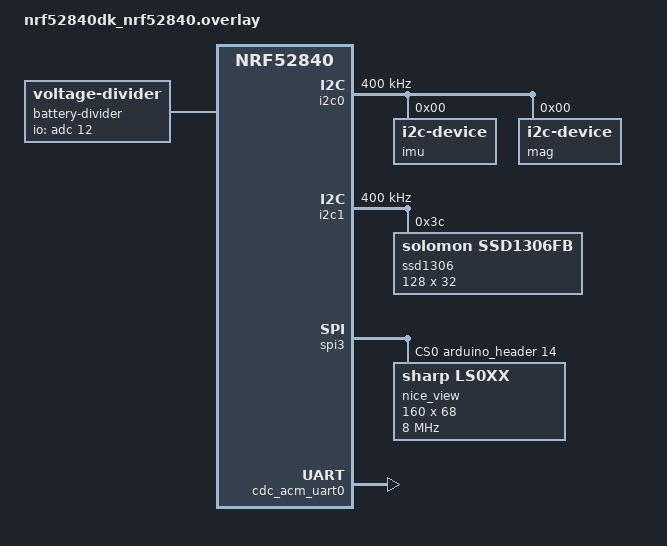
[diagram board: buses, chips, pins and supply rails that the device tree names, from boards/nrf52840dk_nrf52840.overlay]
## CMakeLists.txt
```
#
# Copyright (c) 2023 Nordic Semiconductor
#
# SPDX-License-Identifier: LicenseRef-Nordic-5-Clause
#
cmake_minimum_required(VERSION 3.20.0)

# Configure VERSION from repository branch and tag
find_package(Git)

if(GIT_EXECUTABLE)
  execute_process(
    COMMAND ${GIT_EXECUTABLE} branch --show-current
    WORKING_DIRECTORY ${CMAKE_SOURCE_DIR}
    OUTPUT_VARIABLE GIT_BRANCH
    )
  execute_process(
    COMMAND ${GIT_EXECUTABLE} describe --dirty --tags --long --match [0-9]*.[0-9]*.[0-9]*
    WORKING_DIRECTORY ${CMAKE_SOURCE_DIR}
    OUTPUT_VARIABLE GIT_VERSION
    )
endif()

if(GIT_BRANCH STREQUAL "")
  set(GIT_BRANCH unknown)
  message(WARNING "Unknown Git Branch")
endif()

if(GIT_VERSION STREQUAL "")
  set(GIT_VERSION 0.0.0-0)
  message(WARNING "Unknown Tag/Version")
endif()

string(STRIP ${GIT_BRANCH} GIT_BRANCH)
string(STRIP ${GIT_VERSION} GIT_VERSION)
string(REPLACE "-" ";" GIT_VERSION ${GIT_VERSION})
list(GET GIT_VERSION 0 GIT_RELEASE)
list(GET GIT_VERSION 1 GIT_TWEAK)
string(REPLACE "v" "" GIT_RELEASE ${GIT_RELEASE})
string(REPLACE "." ";" GIT_RELEASE ${GIT_RELEASE})
list(GET GIT_RELEASE 0 GIT_MAJOR)
list(GET GIT_RELEASE 1 GIT_MINOR)
list(GET GIT_RELEASE 2 GIT_PATCH)

configure_file(${CMAKE_SOURCE_DIR}/VERSION_SRC ${CMAKE_SOURCE_DIR}/VERSION @ONLY)

# Zephyr
find_package(Zephyr REQUIRED HINTS $ENV{ZEPHYR_BASE})
project(NONE)

# NORDIC SDK APP START
FILE(GLOB_RECURSE app_sources src/*.c)
target_sources(app PRIVATE ${app_sources})

# NORDIC SDK APP END

FILE(GLOB_RECURSE files vqf-c/src/*.c)
target_sources(app PRIVATE ${files})

target_include_directories(app PRIVATE src)
target_include_directories(app PRIVATE vqf-c/src)

# Force recompile for updated build timestamp
add_custom_target(touch_util_h ALL
    COMMAND ${CMAKE_COMMAND} -E touch ${CMAKE_SOURCE_DIR}/src/build_defines.h
)

# clangd wants compile_commands.json in the root of build directory
# try to find the build root clangd will be happy with
cmake_path(GET CMAKE_CURRENT_BINARY_DIR PARENT_PATH build_dir)
cmake_path(COMPARE ${CMAKE_CURRENT_LIST_DIR} NOT_EQUAL ${build_dir} build_dir_is_subdirectory)

if(build_dir_is_subdirectory)
  add_custom_target(link_target ALL
    COMMAND ${CMAKE_COMMAND} -E create_symlink ${CMAKE_CURRENT_BINARY_DIR}/compile_commands.json ${build_dir}/compile_commands.json)
endif()
```

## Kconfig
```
#
# Copyright (c) 2023 Nordic Semiconductor
#
# SPDX-License-Identifier: LicenseRef-Nordic-5-Clause
#

config USE_SLIMENRF_CONSOLE
    bool "Use basic console"
    default y
    help
        Use basic console for commands.

config BATTERY_CHARGER_HAS_NTC
    bool "Battery thermistor"
    help
      Flag for battery NTC thermistor availability.

choice
    prompt "Battery voltage mapping"
    default BATTERY_NO_MAPPING

config BATTERY_USE_REG_BUCK_MAPPING
    bool "Use buck regulator mapping (3.7V battery, DCDC)"
    help
      Use a constant power mapping for battery voltage.
      Preffered for systems with a buck regulator.
      Measured at a system voltage of 3.0V.

config BATTERY_USE_REG_LDO_MAPPING
    bool "Use LDO linear regulator mapping (3.7V battery, LDO)"
    help
      Use a constant current mapping for battery voltage.
      Preferred for systems with a linear regulator.

config BATTERY_NO_MAPPING
    bool "Disable battery voltage mapping"
    help
      Always map to 100% battery. Disables battery monitoring.

endchoice

config BATTERY_LOW_RUNTIME_THRESHOLD
    int "Low battery runtime threshold (ms)"
    default 10800000
    help
      Trigger low battery when estimated runtime falls below threshold.
      If estimated runtime is not available, low battery will trigger under 10% estimated state of charge.

choice
    prompt "Status LED color mapping"
    default LED_TRI_COLOR

config LED_RGB_COLOR
    bool "Use RGB color mapping"
    help
        Use RGB or RG color mapping for LED status if available.

config LED_TRI_COLOR
    bool "Use default color mapping"
    help
        Use the default color mapping for LED status.

endchoice

menu "Status LED default status color"
    depends on LED_RGB_COLOR

config LED_DEFAULT_COLOR_R
    int "Red value"
    range 0 10000
    default 4000
    depends on LED_RGB_COLOR
    help
        Red color for default status.
        Valid range is 0 to 10000.

config LED_DEFAULT_COLOR_G
    int "Green value"
    range 0 10000
    default 6000
    depends on LED_RGB_COLOR
    help
        Green color for default status.
        Valid range is 0 to 10000.

config LED_DEFAULT_COLOR_B
    int "Blue value"
    range 0 10000
    default 0
    depends on LED_RGB_COLOR
    help
        Blue color for default status.
        Valid range is 0 to 10000.

endmenu

config USER_EXTRA_ACTIONS
    bool "Multiple press actions"
    help
        Allow user to use multiple presses to calibrate, pair, or enter DFU.
        By default, pairing is available when holding down sw0 for 5 seconds.
        By default, DFU is available when holding down sw0 and plugging in a USB cable.

config IGNORE_RESET
    bool "Ignore reset"
    default y
    help
        If sw0 is available, don't perform any extra actions on reset.

config USER_SHUTDOWN
    bool "User shutdown support"
    default y
    help
        Allow user to use reset or sw0 to shutdown.

config USE_IMU_WAKE_UP
    bool "IMU wake up support"
    default y
    help
        Use IMU wake up state if IMU wake up is present.

config DELAY_SLEEP_ON_STATUS
    bool "Delay IMU wake up mode on status flags"
    default y
    depends on USE_IMU_WAKE_UP
    help
        Delay IMU wake up state if there is an active status flag or in pairing mode.

config WOM_USE_DCDC
    bool "Use DCDC in IMU wake up mode"
    depends on USE_IMU_WAKE_UP
    help
        Use DCDC instead of LDO in IMU wake up state if it is more efficient.

config CONNECTION_TIMEOUT_DELAY
    int "Connection timeout delay (ms)"
    default 600000
    depends on USER_SHUTDOWN
    help
        Connection timeout duration when receiver is not detected.

choice
    prompt "Sensor rotation"
    default SENSOR_ROTATION_90

config SENSOR_ROTATION_0
    bool "0 degrees"

config SENSOR_ROTATION_90
    bool "90 degrees"

config SENSOR_ROTATION_180
    bool "180 degrees"

config SENSOR_ROTATION_270
    bool "270 degrees"

config SENSOR_ROTATION_0_FLIPPED
    bool "0 degrees flipped"

config SENSOR_ROTATION_90_FLIPPED
    bool "90 degrees flipped"

config SENSOR_ROTATION_180_FLIPPED
    bool "180 degrees flipped"

config SENSOR_ROTATION_270_FLIPPED
    bool "270 degrees flipped"

endchoice

menu "Sensor power saving"

config SENSOR_LP_TIMEOUT
    int "Sensor low power delay (ms)"
    default 500
    help
        Low power timeout during no motion.

config SENSOR_USE_LOW_POWER_2
    bool "Use additional low power modes"
    help
        Use a higher latency sensor mode during no motion.

config USE_IMU_TIMEOUT
    bool "Use IMU wake up state"
    default y
    depends on USE_IMU_WAKE_UP
    help
        Use IMU wake up state during no motion.

config IMU_TIMEOUT_RAMP_MIN
    int "Sensor timeout minimum delay (ms)"
    default 5000
    depends on USE_IMU_TIMEOUT || SENSOR_USE_LOW_POWER_2
    help
        Minimum timeout during no motion. Initial period on wake up.

config IMU_TIMEOUT_RAMP_MAX
    int "Sensor timeout maximum delay (ms)"
    default 15000
    depends on USE_IMU_TIMEOUT || SENSOR_USE_LOW_POWER_2
    help
        Maximum timeout during no motion.

config USE_ACTIVE_TIMEOUT
    bool "Use activity timeout"
    default y
    depends on USE_IMU_WAKE_UP || USER_SHUTDOWN
    help
        Delay IMU wake up state or user shutdown during activity.

choice
    prompt "Activity timeout mode"
    default SLEEP_ON_ACTIVE_TIMEOUT
    depends on USE_ACTIVE_TIMEOUT

config SLEEP_ON_ACTIVE_TIMEOUT
    bool "IMU wake up"
    depends on USE_IMU_WAKE_UP
    help
        Use IMU wake up state when activity timeout elapses.

config SHUTDOWN_ON_ACTIVE_TIMEOUT
    bool "User shutdown"
    depends on USER_SHUTDOWN
    help
        Use user shutdown when activity timeout elapses.

endchoice

config ACTIVE_TIMEOUT_THRESHOLD
    int "Activity timeout threshold (ms)"
    default 15000
    depends on USE_ACTIVE_TIMEOUT
    help
        Trigger activity timeout after a certain threshold of activity.

config ACTIVE_TIMEOUT_DELAY
    int "Activity timeout delay (ms)"
    default 900000
    depends on USE_ACTIVE_TIMEOUT
    help
        Activity timeout duration when triggered.

endmenu

config SENSOR_ACCEL_ODR
    int "Accelerometer output data rate (Hz)"
    default 100
    help
        Requested accelerometer output data rate. Actual rate will be raised to the nearest supported rate.
        A higher rate will increase the time to read and process sensor data.

config SENSOR_GYRO_ODR
    int "Gyrometer output data rate (Hz)"
    default 200
    help
        Requested gyrometer output data rate. Actual rate will be raised to the nearest supported rate.
        A higher rate will increase the time to read and process sensor data.
        A lower rate is recommended for IMUs with poor gyrometer rate noise density. (e.g. BMI270, LSM6DS3TR-C)

config SENSOR_ACCEL_FS
    int "Accelerometer full scale (g)"
    default 4
    help
        Requested accelerometer full scale. Actual scale will be raised to the nearest supported scale.
        A lower scale may improve noise performance, but is more likely to saturate.

config SENSOR_GYRO_FS
    int "Gyrometer full scale (dps)"
    default 1000
    help
        Requested gyrometer full scale. Actual scale will be raised to the nearest supported scale.
        A lower scale may improve noise performance, but is more likely to saturate.

config SENSOR_USE_MAG
    bool "Magnetometer support"
    default y
    help
        Use magnetometer if it is present.

config USE_SENSOR_CLOCK
    bool "Use external IMU clock"
    default y
    help
        Use external IMU clock if it is present.

choice
    prompt "Sensor fusion"
    default SENSOR_USE_VQF
    help
        Select the sensor fusion method.

config SENSOR_USE_VQF
    bool "Use VQF"
    help
        Use VQF for sensor fusion.
        Based on Kalman filter.

endchoice

config SENSOR_USE_6_SIDE_CALIBRATION
    bool "Use 6-side calibration"
    default y
    depends on USE_SLIMENRF_CONSOLE
    help
        Use 6-side calibration for accelerometer.
        Calibration can be completed through the basic console.

config RADIO_TX_POWER
    int "Radio output power (dBm)"
    default 8
    help
        Radio output power level.
        A lower value may reduce power consumption.

config CONNECTION_OVER_HID
    bool "Use HID for data output"
    help
        Use HID if available.
        Otherwise, use ESB only.

choice CLOCK_SOURCE_LFCLK
    prompt "LF clock source for TDMA"
    default CLOCK_SOURCE_LFCLK_FULL_SWING
    help
        Chose which crystal or oscillator is connected
        to XL1/XL2 pins, if any. External 32.768kHz crystal
        or oscillator is recommended.

config CLOCK_SOURCE_LFCLK_XTAL
    bool "External passive crystal"

config CLOCK_SOURCE_LFCLK_LOW_SWING
    bool "External low-swing oscillator"

config CLOCK_SOURCE_LFCLK_FULL_SWING
    bool "External full-swing oscillator"

config CLOCK_SOURCE_LFCLK_SYNTH
    bool "Synthesized from internal HF clock (high power consumption)"

config CLOCK_SOURCE_LFCLK_RC
    bool "Internal RC clock (bad performance)"

endchoice

config BTF_DUT
    bool "Test mode for certification"

source "Kconfig.zephyr"
```

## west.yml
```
manifest:
  version: "1.2"
  projects:

    # nRF-Connect SDK
    - name: sdk-nrf
      path: nrf
      url: https://github.com/SlimeVR/sdk-nrf.git
      revision: v3.1-slimevr
      import: true
```

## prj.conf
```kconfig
#CONFIG_NCS_SAMPLES_DEFAULTS
CONFIG_ASSERT=y
CONFIG_ASSERT_NO_COND_INFO=y
CONFIG_ASSERT_NO_MSG_INFO=y
CONFIG_RESET_ON_FATAL_ERROR=y

CONFIG_NCS_APPLICATION_BOOT_BANNER_STRING="SlimeVR-Tracker-nRF"
#CONFIG_NCS_BOOT_BANNER=n
CONFIG_BOOT_BANNER=n

CONFIG_ESB=y
#need to enable for nRF54L
#CONFIG_NRFX_DPPI10=y

CONFIG_ADC=y
CONFIG_ADC_NRFX_SAADC=y
CONFIG_FPU=y
CONFIG_I2C=y
CONFIG_SPI=y
CONFIG_PINCTRL=y
CONFIG_SENSOR=y
CONFIG_ESB=y

CONFIG_CMSIS_DSP=y
CONFIG_CMSIS_DSP_BASICMATH=y
CONFIG_CMSIS_DSP_CONTROLLER=y
CONFIG_CMSIS_DSP_FASTMATH=y
CONFIG_CMSIS_DSP_SUPPORT=y

CONFIG_NVS=y
CONFIG_NVS_LOOKUP_CACHE=y
CONFIG_NVS_INIT_BAD_MEMORY_REGION=y

CONFIG_POWEROFF=y
CONFIG_REBOOT=y

CONFIG_FLASH=y
CONFIG_FLASH_PAGE_LAYOUT=y
CONFIG_FLASH_MAP=y

CONFIG_SETTINGS=y
CONFIG_SETTINGS_RUNTIME=y
CONFIG_SETTINGS_NONE=y

CONFIG_MPU_ALLOW_FLASH_WRITE=y

CONFIG_RETAINED_MEM=y

CONFIG_USE_SEGGER_RTT=y
CONFIG_LOG=y
#CONFIG_PRINTK=y
CONFIG_LOG_MODE_DEFERRED=y
CONFIG_LOG_SPEED=y
CONFIG_LOG_BACKEND_RTT=y
CONFIG_CBPRINTF_FP_SUPPORT=y
CONFIG_ADC_LOG_LEVEL_OFF=y
CONFIG_LOG_FUNC_NAME_PREFIX_ERR=y
CONFIG_LOG_BUFFER_SIZE=1536
CONFIG_LOG_BACKEND_UART_AUTOSTART=n
CONFIG_LOG_PROCESS_THREAD_SLEEP_MS=50
CONFIG_LOG_PROCESS_THREAD_STACK_SIZE=1024

CONFIG_PWM=y
CONFIG_GPIO=y

CONFIG_CRC=y

CONFIG_NEWLIB_LIBC=y
#deprecated?
#CONFIG_NRFX_TIMER1=y

# Use uncalibrated RC clock on boot, will switch to external oscillator in the app after boot
CONFIG_CLOCK_CONTROL_NRF_K32SRC_RC=y
CONFIG_CLOCK_CONTROL_NRF_K32SRC_RC_CALIBRATION=n
CONFIG_CLOCK_CONTROL_NRF_K32SRC_SYNTH=n

# dont need it
CONFIG_CRYPTO=n

# set timeout for 25ms, sufficient for ~1000 bytes
CONFIG_I2C_NRFX_TRANSFER_TIMEOUT=25

CONFIG_USB_DEVICE_HID=y
CONFIG_USB_DEVICE_VID=0x1209
CONFIG_USB_DEVICE_PID=0x7692
CONFIG_USB_HID_BOOT_PROTOCOL=y
CONFIG_USB_DEVICE_INITIALIZE_AT_BOOT=n
CONFIG_USB_CDC_ACM=y
CONFIG_UART_INTERRUPT_DRIVEN=y
CONFIG_USB_WORKQUEUE_STACK_SIZE=512

CONFIG_SERIAL=y
CONFIG_CONSOLE=y
CONFIG_RTT_CONSOLE=y
CONFIG_UART_CONSOLE=y
CONFIG_UART_LINE_CTRL=y
# fit "write all <base64:173>"
CONFIG_CONSOLE_INPUT_MAX_LINE_LEN=256

CONFIG_LOG=y
CONFIG_USB_DRIVER_LOG_LEVEL_ERR=y
CONFIG_USB_DEVICE_LOG_LEVEL_ERR=y
CONFIG_USB_CDC_ACM_LOG_LEVEL_OFF=y

CONFIG_LOG_BACKEND_UART=y

CONFIG_CONSOLE_SUBSYS=y
CONFIG_CONSOLE_GETLINE=y

CONFIG_NVS_LOG_LEVEL_WRN=y
CONFIG_USB_HID_LOG_LEVEL_WRN=y

CONFIG_USB_DEVICE_SOF=y
CONFIG_USB_HID_REPORTS=256

#CONFIG_USB_HID_POLL_INTERVAL_MS=1
CONFIG_USB_HID_POLL_INTERVAL_MS=0
CONFIG_HID_INTERRUPT_EP_MPS=64
#CONFIG_ENABLE_HID_INT_OUT_EP=y

CONFIG_SYSTEM_WORKQUEUE_STACK_SIZE=256
CONFIG_MAIN_STACK_SIZE=512
#crashing on nrf54l at 512

CONFIG_THREAD_NAME=y

CONFIG_HEAP_MEM_POOL_SIZE=2048
CONFIG_ISR_STACK_SIZE=1024

CONFIG_PM_DEVICE=y

CONFIG_BASE64=y

#CONFIG_THREAD_ANALYZER=y
#CONFIG_THREAD_ANALYZER_AUTO=y
#CONFIG_THREAD_ANALYZER_AUTO_INTERVAL=5

#about 20KB saved
#CONFIG_LTO=y
#CONFIG_ISR_TABLES_LOCAL_DECLARATION=y

#CONFIG_USE_IMU_TIMEOUT=n
```

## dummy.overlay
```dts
// dummy flash partitions for mcuboot compilation
&flash0 {
	partitions {
		compatible = "fixed-partitions";
		#address-cells = <1>;
		#size-cells = <1>;

		slot0_partition: partition@0 {
			reg = <0 1>;
		};
	};
};
```

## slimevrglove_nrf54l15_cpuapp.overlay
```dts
/* For more help, browse the devicetree documentation at https://docs.zephyrproject.org/latest/build/dts/index.html
 * You can also visit the nRF DeviceTree extension documentation at https://docs.nordicsemi.com/bundle/nrf-connect-vscode/page/guides/ncs_configure_app.html#devicetree-support-in-the-extension
 */
```

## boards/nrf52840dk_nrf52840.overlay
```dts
&pwm0_default {
	group1 {
		psels = <NRF_PSEL(PWM_OUT0, 0, 13)>,
			<NRF_PSEL(PWM_OUT1, 0, 14)>,
			<NRF_PSEL(PWM_OUT2, 0, 15)>;
		nordic,drive-mode = <NRF_DRIVE_D0S1>;
		nordic,invert;
	};
};

&pwm0_sleep {
	group1 {
		psels = <NRF_PSEL(PWM_OUT0, 0, 13)>,
			<NRF_PSEL(PWM_OUT1, 0, 14)>,
			<NRF_PSEL(PWM_OUT2, 0, 15)>;
	};
};

&i2c0_default {
	group1 {
		bias-disable;
	};
};

&i2c0_sleep {
	group1 {
		bias-disable;
	};
};

/ {
	chosen {
		zephyr,console = &cdc_acm_uart0;
		zephyr,shell-uart = &cdc_acm_uart0;
		zephyr,display = &nice_view;
	};

	pwmleds {
		pwm_led1: pwm_led_1 {
			pwms = <&pwm0 1 PWM_MSEC(20) PWM_POLARITY_INVERTED>;
		};
		pwm_led2: pwm_led_2 {
			pwms = <&pwm0 2 PWM_MSEC(20) PWM_POLARITY_INVERTED>;
		};
	};

	battery-divider {
		compatible = "voltage-divider";
		status = "okay";
		io-channels = <&adc 12>; // Measure VDDHDIV5
		output-ohms = <1>;
		full-ohms = <2>;
	};

	aliases {
		pwm-led1 = &pwm_led1;
		pwm-led2 = &pwm_led2;
	};
};

&i2c0 {
	compatible = "nordic,nrf-twim";
	zephyr,concat-buf-size = <1023>;
	zephyr,flash-buf-max-size = <1023>;
	clock-frequency = <I2C_BITRATE_FAST>;

	imu: imu@0 { // any address out of range (00, 7f, etc. will search all addresses and stored address first if available, specify an address here to search first otherwise
		compatible = "i2c-device";
		label = "imu";
		reg = <0>;
	};

	mag: mag@0 {
		compatible = "i2c-device";
		label = "mag";
		reg = <0>;
	};

};

&i2c1 {
	compatible = "nordic,nrf-twim";
	status = "okay";
	clock-frequency = <I2C_BITRATE_FAST>;
	zephyr,concat-buf-size = <4096>;

	ssd1306: ssd1306@3c {
		status = "okay";
		compatible = "solomon,ssd1306fb";
		reg = <0x3c>;
		width = <128>;
		height = <32>;
		segment-offset = <0>;
		page-offset = <0>;
		display-offset = <0>;
		multiplex-ratio = <31>;
		segment-remap;
		com-invdir;
		com-sequential;
		prechargep = <0x22>;
	};
};

&spi1 {
	status = "disabled";
};

&spi3 {
	status = "okay";
    cs-gpios = <&arduino_header 14 GPIO_ACTIVE_HIGH>;
    pinctrl-0 = <&spi2_default>;
    pinctrl-1 = <&spi2_sleep>;
    nice_view: ls0xx@0 {
        compatible = "sharp,ls0xx";
		spi-max-frequency = <DT_FREQ_M(8)>;
        reg = <0>;
        width = <160>;
        height = <68>;
    };
};

/delete-node/ &qspi;
/delete-node/ &spi2;

/*
&spi3 {
	status = "okay";
    cs-gpios = <&arduino_header 16 GPIO_ACTIVE_LOW>;
    pinctrl-0 = <&spi3_default>;
    pinctrl-1 = <&spi3_sleep>;
	imu_spi: imu_spi@0 {
		compatible = "vnd,spi-device";
		spi-max-frequency = <DT_FREQ_M(32)>;
		label = "imu-spi";
		reg = <0>;
	};
};
*/

&usbd {
	cdc_acm_uart0: cdc_acm_uart0 {
		compatible = "zephyr,cdc-acm-uart";
	};
};
```

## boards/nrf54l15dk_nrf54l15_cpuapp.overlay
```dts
&pinctrl {
	i2c0_default: i2c0_default {
		group1 {
			psels = <NRF_PSEL(TWIM_SDA, 1, 5)>,
				<NRF_PSEL(TWIM_SCL, 1, 7)>;
		};
	};

	i2c0_sleep: i2c0_sleep {
		group1 {
			psels = <NRF_PSEL(TWIM_SDA, 1, 5)>,
				<NRF_PSEL(TWIM_SCL, 1, 7)>;
			low-power-enable;
		};
	};
};

&pwm20_default {
	group1 {
		psels = <NRF_PSEL(PWM_OUT0, 1, 10)>,
			<NRF_PSEL(PWM_OUT1, 1, 14)>;
	};
};

&pwm20_sleep {
	group1 {
		psels = <NRF_PSEL(PWM_OUT0, 1, 10)>,
			<NRF_PSEL(PWM_OUT1, 1, 14)>;
	};
};

/ {
	pwmleds {
		pwm_led0: pwm_led_0 {
			pwms = <&pwm20 1 PWM_MSEC(20) PWM_POLARITY_NORMAL>;
		};
	};

	battery-divider {
		compatible = "voltage-divider";
		status = "okay";
		io-channels = <&adc 12>; // Measure VDDHDIV5
		output-ohms = <1>;
		full-ohms = <2>;
	};
};

&i2c20 {
	compatible = "nordic,nrf-twim";
	status = "okay";
	zephyr,concat-buf-size = <1023>;
	zephyr,flash-buf-max-size = <1023>;
	clock-frequency = <I2C_BITRATE_FAST>;
	pinctrl-0 = <&i2c0_default>;
	pinctrl-1 = <&i2c0_sleep>;
	pinctrl-names = "default", "sleep";

	imu: imu@0 { // any address out of range (00, 7f, etc. will search all addresses and stored address first if available, specify an address here to search first otherwise
		compatible = "i2c-device";
		label = "imu";
		reg = <0>;
	};

	mag: mag@0 {
		compatible = "i2c-device";
		label = "mag";
		reg = <0>;
	};
};

&spi00 {
	/delete-node/ mx25r6435f@0;

	imu_spi: imu_spi@0 {
		compatible = "vnd,spi-device";
		spi-max-frequency = <DT_FREQ_M(24)>;
		label = "imu-spi";
		reg = <0>;
	};
};

&uart20 {
	status = "disabled";
};
```

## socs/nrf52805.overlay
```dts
/ {
	sram0@20005800 {
		compatible = "zephyr,memory-region", "mmio-sram";
		reg = <0x20005800 DT_SIZE_K(2)>;
		zephyr,memory-region = "RetainedMem";
		status = "okay";

		retainedmem0: retainedmem {
			compatible = "zephyr,retained-ram";
			status = "okay";
		};
	};

	aliases {
		retainedmemdevice = &retainedmem0;
	};
};

&sram0 {
	/* Shrink SRAM size to avoid overlap with retained memory region */
	reg = <0x20000000 DT_SIZE_K(22)>;
};
```

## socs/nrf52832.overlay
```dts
/ {
	sram0@20007000 {
		compatible = "zephyr,memory-region", "mmio-sram";
		reg = <0x20007000 DT_SIZE_K(4)>;
		zephyr,memory-region = "RetainedMem";
		status = "okay";

		retainedmem0: retainedmem {
			compatible = "zephyr,retained-ram";
			status = "okay";
		};
	};

	aliases {
		retainedmemdevice = &retainedmem0;
	};
};

&sram0 {
	/* Shrink SRAM size to avoid overlap with retained memory region */
	reg = <0x20000000 DT_SIZE_K(28)>;
};
```

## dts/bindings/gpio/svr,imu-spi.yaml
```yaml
description: "imu with added properties"

compatible: "svr,imu-spi"

include: spi-device.yaml

properties:
  sensor-position:
    type: int
    required: false
    description: Value of sensor position as described in sensor_position.h
```

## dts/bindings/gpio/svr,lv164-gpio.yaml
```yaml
compatible: "svr,lv164-gpio"

description: "Driver to make reading from multiple imus easier"

include: [gpio-controller.yaml, base.yaml]

properties:
  dsb-gpios:
    type: phandle-array
    required: true
    description: Serial data input pin (DS) of the shift register.

  cp-gpios:
    type: phandle-array
    required: true
    description: Shift clock pin (CP) of the shift register.

  num-outputs:
    type: int
    required: true
    description: Number of output bits (8 for a single 74LV164, 16 if two are daisy-chained, etc).

  "#gpio-cells":
    const: 2

gpio-cells:
  - pin
  - flags
```

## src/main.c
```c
/*
	SlimeVR Code is placed under the MIT license
	Copyright (c) 2025 SlimeVR Contributors

	Permission is hereby granted, free of charge, to any person obtaining a copy
	of this software and associated documentation files (the "Software"), to deal
	in the Software without restriction, including without limitation the rights
	to use, copy, modify, merge, publish, distribute, sublicense, and/or sell
	copies of the Software, and to permit persons to whom the Software is
	furnished to do so, subject to the following conditions:

	The above copyright notice and this permission notice shall be included in
	all copies or substantial portions of the Software.

	THE SOFTWARE IS PROVIDED "AS IS", WITHOUT WARRANTY OF ANY KIND, EXPRESS OR
	IMPLIED, INCLUDING BUT NOT LIMITED TO THE WARRANTIES OF MERCHANTABILITY,
	FITNESS FOR A PARTICULAR PURPOSE AND NONINFRINGEMENT. IN NO EVENT SHALL THE
	AUTHORS OR COPYRIGHT HOLDERS BE LIABLE FOR ANY CLAIM, DAMAGES OR OTHER
	LIABILITY, WHETHER IN AN ACTION OF CONTRACT, TORT OR OTHERWISE, ARISING FROM,
	OUT OF OR IN CONNECTION WITH THE SOFTWARE OR THE USE OR OTHER DEALINGS IN
	THE SOFTWARE.
*/
#include "globals.h"
#include "system/system.h"
//#include "timer.h"
#include "connection/pairing.h"
#include "sensor/sensor.h"

#include <zephyr/sys/reboot.h>

LOG_MODULE_REGISTER(main, LOG_LEVEL_INF);

#if DT_NODE_HAS_PROP(DT_ALIAS(sw0), gpios)
#define BUTTON_EXISTS true
#endif

#define DFU_EXISTS CONFIG_BUILD_OUTPUT_UF2 || CONFIG_BOARD_HAS_NRF5_BOOTLOADER
#define ADAFRUIT_BOOTLOADER CONFIG_BUILD_OUTPUT_UF2

int main(void)
{
#ifdef NRF_RESET
	bool reset_pin_reset = NRF_RESET->RESETREAS & RESET_RESETREAS_RESETPIN_Msk;
	NRF_RESET->RESETREAS = NRF_RESET->RESETREAS; // Clear RESETREAS
#else
	bool reset_pin_reset = NRF_POWER->RESETREAS & POWER_RESETREAS_RESETPIN_Msk;
	NRF_POWER->RESETREAS = NRF_POWER->RESETREAS; // Clear RESETREAS
#endif

#if BUTTON_EXISTS
	if (CONFIG_0_SETTINGS_READ(CONFIG_0_IGNORE_RESET))
		reset_pin_reset = false;
#endif

	set_led(SYS_LED_PATTERN_ONESHOT_WAKE, SYS_LED_PRIORITY_BOOT); // Boot LED

	uint8_t reboot_counter = reboot_counter_read();
	bool booting_from_shutdown = !reboot_counter && (reset_pin_reset || button_read()); // 0 means from user shutdown or failed ram validation

	/* if button is not held after booting from shutdown, power off again
	 * if button press is normal, continue boot
	 * if button is held for 1 second, reset pairing and continue boot
	 * if button is held but tracker was waking (not booting from shutdown) ignore the press // TODO: this should pass on to regular handler (e.g. intent to shutdown)
	 */

	if (booting_from_shutdown)
	{
		set_led(SYS_LED_PATTERN_ONESHOT_POWERON, SYS_LED_PRIORITY_BOOT);
		if (button_read())
		{
			set_status(SYS_STATUS_BUTTON_PRESSED, true); // prevent going to sleep while still holding
			int64_t start_time = k_uptime_get();
			while (button_read())
			{
				if (k_uptime_get() - start_time > 1000)
				{
					LOG_INF("Pairing requested");
					pairing_request_pair();
					break;
				}
				k_msleep(1);
			}
			if (CONFIG_0_SETTINGS_READ(CONFIG_0_USER_SHUTDOWN) && k_uptime_get() - start_time < 50) // debounce // TODO: does sense pin stay configured?
				sys_request_system_silent_off(false);
			set_status(SYS_STATUS_BUTTON_PRESSED, false);
		}
	}

	bool docked = dock_read();

	uint8_t reset_mode = -1;

	if (reboot_counter == 0)
		reboot_counter = 100;
	else if (reboot_counter > 200)
		reboot_counter = 200; // How did you get here
	reset_mode = reboot_counter - 100;
	if (reset_pin_reset && !docked) // Count pin resets while not docked
	{
		reboot_counter++;
		reboot_counter_write(reboot_counter);
		LOG_INF("Reset count: %u", reboot_counter);
#if ADAFRUIT_BOOTLOADER
#if BUTTON_EXISTS
		if (!CONFIG_0_SETTINGS_READ(CONFIG_0_IGNORE_RESET))
			NRF_POWER->GPREGRET = 0x6d; // Using Adafruit bootloader, skip DFU if reset button could be used
#else
		NRF_POWER->GPREGRET = 0x6d; // Using Adafruit bootloader, skip DFU since reset button is used
#endif
#endif
		k_msleep(1000); // Wait before clearing counter and continuing
	}
	reboot_counter_write(100);
	if (!reset_pin_reset && reset_mode == 0) // Only need to check once, if the button is pressed again an interrupt is triggered from before
		reset_mode = -1; // Cancel reset_mode (shutdown)

	if (CONFIG_0_SETTINGS_READ(CONFIG_0_USER_SHUTDOWN))
	{
		bool charging = chg_read();
		bool charged = stby_read();
		bool plugged = vin_read();

		if (reset_mode == 0 && !booting_from_shutdown && !charging && !charged && !plugged) // Reset mode user shutdown, only if unplugged and undocked
			sys_user_shutdown();
	}

	sys_reset_mode(reset_mode);

	return 0;
}
```

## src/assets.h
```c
#include <stdint.h>

// TODO: Unifont is licensed under GNU, may need to be replaced
static const uint8_t unifont[] = {0x00, 0x00, 0x00, 0xfe, 0x00, 0x00, 0x00, 0x00, 0x07, 0x00, 0x00, 0x00, 0x07, 0x00, 0x90, 0xf0, 0x9e, 0x90, 0xf0, 0x9e, 0x00, 0x18, 0x24, 0x24, 0xfe, 0x44, 0x44, 0x88, 0x0c, 0x12, 0x92, 0x6c, 0x90, 0x8c, 0x02, 0x80, 0x4c, 0x32, 0x62, 0x92, 0x0c, 0xc0, 0x00, 0x00, 0x00, 0x07, 0x00, 0x00, 0x00, 0x00, 0x00, 0xf8, 0x06, 0x01, 0x00, 0x00, 0x00, 0x01, 0x06, 0xf8, 0x00, 0x00, 0x00, 0x10, 0xa0, 0x40, 0xf8, 0x40, 0xa0, 0x10, 0x40, 0x40, 0x40, 0xf8, 0x40, 0x40, 0x40, 0x00, 0x00, 0x00, 0x00, 0x00, 0x00, 0x00, 0x00, 0x40, 0x40, 0x40, 0x40, 0x00, 0x00, 0x00, 0x00, 0x00, 0x00, 0x00, 0x00, 0x00, 0x00, 0x00, 0xc0, 0x30, 0x08, 0x06, 0x00, 0xf8, 0x84, 0x42, 0x22, 0x14, 0xf8, 0x00, 0x00, 0x08, 0x04, 0xfe, 0x00, 0x00, 0x00, 0x0c, 0x82, 0x42, 0x22, 0x22, 0x1c, 0x00, 0x0c, 0x02, 0x22, 0x22, 0x22, 0xdc, 0x00, 0xe0, 0x90, 0x88, 0x84, 0xfe, 0x80, 0x00, 0x3e, 0x22, 0x22, 0x22, 0x22, 0xc2, 0x00, 0xf8, 0x24, 0x22, 0x22, 0x22, 0xc0, 0x00, 0x02, 0x02, 0x02, 0x82, 0x72, 0x0e, 0x00, 0xdc, 0x22, 0x22, 0x22, 0x22, 0xdc, 0x00, 0x1c, 0x22, 0x22, 0x22, 0x22, 0xfc, 0x00, 0x00, 0x00, 0x18, 0x18, 0x00, 0x00, 0x00, 0x00, 0x00, 0x18, 0x18, 0x00, 0x00, 0x00, 0x00, 0x40, 0xa0, 0x10, 0x08, 0x04, 0x00, 0x10, 0x10, 0x10, 0x10, 0x10, 0x10, 0x00, 0x04, 0x08, 0x10, 0xa0, 0x40, 0x00, 0x00, 0x0c, 0x02, 0x02, 0xc2, 0x22, 0x1c, 0x00, 0xf8, 0x04, 0xf2, 0x0a, 0x12, 0xfc, 0x00, 0xf0, 0x4c, 0x42, 0x42, 0x4c, 0xf0, 0x00, 0xfe, 0x22, 0x22, 0x22, 0x22, 0xdc, 0x00, 0xfc, 0x02, 0x02, 0x02, 0x02, 0x0c, 0x00, 0xfe, 0x02, 0x02, 0x02, 0x04, 0xf8, 0x00, 0xfe, 0x22, 0x22, 0x22, 0x22, 0x02, 0x00, 0xfe, 0x22, 0x22, 0x22, 0x22, 0x02, 0x00, 0xfc, 0x02, 0x02, 0x42, 0x42, 0xcc, 0x00, 0xfe, 0x20, 0x20, 0x20, 0x20, 0xfe, 0x00, 0x00, 0x02, 0x02, 0xfe, 0x02, 0x02, 0x00, 0x00, 0x00, 0x02, 0x02, 0xfe, 0x02, 0x02, 0xfe, 0x60, 0x90, 0x08, 0x04, 0x02, 0x00, 0xfe, 0x00, 0x00, 0x00, 0x00, 0x00, 0x00, 0xfe, 0x18, 0x60, 0x60, 0x18, 0xfe, 0x00, 0xfe, 0x0c, 0x30, 0xc0, 0x00, 0xfe, 0x00, 0xfc, 0x02, 0x02, 0x02, 0x02, 0xfc, 0x00, 0xfe, 0x22, 0x22, 0x22, 0x22, 0x1c, 0x00, 0xfc, 0x02, 0x02, 0x02, 0x02, 0xfc, 0x00, 0xfe, 0x22, 0x22, 0x62, 0xa2, 0x1c, 0x00, 0x1c, 0x22, 0x22, 0x42, 0x42, 0x8c, 0x00, 0x02, 0x02, 0x02, 0xfe, 0x02, 0x02, 0x02, 0xfe, 0x00, 0x00, 0x00, 0x00, 0xfe, 0x00, 0x0e, 0x70, 0x80, 0x00, 0x80, 0x70, 0x0e, 0xfe, 0x80, 0x60, 0x60, 0x80, 0xfe, 0x00, 0x06, 0x98, 0x60, 0x60, 0x98, 0x06, 0x00, 0x06, 0x18, 0x20, 0xc0, 0x20, 0x18, 0x06, 0x02, 0x82, 0x42, 0x22, 0x12, 0x0e, 0x00, 0x00, 0x00, 0x00, 0xff, 0x01, 0x01, 0x00, 0x06, 0x08, 0x30, 0xc0, 0x00, 0x00, 0x00, 0x01, 0x01, 0xff, 0x00, 0x00, 0x00, 0x00, 0x04, 0x02, 0x01, 0x01, 0x02, 0x04, 0x00, 0x00, 0x00, 0x00, 0x00, 0x00, 0x00, 0x00, 0x00, 0x01, 0x02, 0x04, 0x00, 0x00, 0x00, 0x90, 0x48, 0x48, 0x48, 0x48, 0xf0, 0x00, 0xff, 0x10, 0x08, 0x08, 0x08, 0xf0, 0x00, 0xf0, 0x08, 0x08, 0x08, 0x08, 0x10, 0x00, 0xf0, 0x08, 0x08, 0x08, 0x10, 0xff, 0x00, 0xf0, 0x48, 0x48, 0x48, 0x48, 0x70, 0x00, 0x10, 0x10, 0xfe, 0x11, 0x11, 0x00, 0x00, 0x70, 0x88, 0x88, 0x88, 0x70, 0x0c, 0x00, 0xff, 0x10, 0x08, 0x08, 0x08, 0xf0, 0x00, 0x00, 0x00, 0x08, 0xfb, 0x00, 0x00, 0x00, 0x00, 0x00, 0x00, 0x08, 0xfb, 0x00, 0x00, 0xff, 0x40, 0xa0, 0x10, 0x08, 0x00, 0x00, 0x00, 0x00, 0x01, 0xff, 0x00, 0x00, 0x00, 0xf8, 0x08, 0x08, 0xf0, 0x08, 0x08, 0xf0, 0xf8, 0x10, 0x08, 0x08, 0x08, 0xf0, 0x00, 0xf0, 0x08, 0x08, 0x08, 0x08, 0xf0, 0x00, 0xf8, 0x10, 0x08, 0x08, 0x08, 0xf0, 0x00, 0xf0, 0x08, 0x08, 0x08, 0x10, 0xf8, 0x00, 0xf8, 0x10, 0x08, 0x08, 0x08, 0x30, 0x00, 0x30, 0x48, 0x48, 0x88, 0x88, 0x10, 0x00, 0x10, 0x10, 0xfe, 0x10, 0x10, 0x00, 0x00, 0xf8, 0x00, 0x00, 0x00, 0x00, 0xf8, 0x00, 0x38, 0xc0, 0x00, 0x00, 0xc0, 0x38, 0x00, 0xf8, 0x00, 0x00, 0xf0, 0x00, 0x00, 0xf8, 0x18, 0x20, 0xc0, 0xc0, 0x20, 0x18, 0x00, 0xf8, 0x00, 0x00, 0x00, 0x00, 0xf8, 0x00, 0x08, 0x08, 0x88, 0x48, 0x28, 0x18, 0x00, 0x00, 0x40, 0xa6, 0x19, 0x01, 0x00, 0x00, 0x00, 0x00, 0x00, 0xff, 0x00, 0x00, 0x00, 0x00, 0x01, 0x19, 0xa6, 0x40, 0x00, 0x00, 0x06, 0x01, 0x01, 0x02, 0x04, 0x04, 0x03, 0x00, 0x00, 0x00, 0x06, 0x00, 0x00, 0x00, 0x00, 0x00, 0x00, 0x00, 0x00, 0x00, 0x00, 0x07, 0x00, 0x00, 0x07, 0x00, 0x00, 0x00, 0x01, 0x02, 0x02, 0x07, 0x02, 0x02, 0x01, 0x04, 0x03, 0x00, 0x03, 0x04, 0x04, 0x03, 0x03, 0x04, 0x04, 0x04, 0x02, 0x03, 0x04, 0x00, 0x00, 0x00, 0x00, 0x00, 0x00, 0x00, 0x00, 0x00, 0x01, 0x06, 0x08, 0x00, 0x00, 0x00, 0x08, 0x06, 0x01, 0x00, 0x00, 0x00, 0x01, 0x00, 0x00, 0x03, 0x00, 0x00, 0x01, 0x00, 0x00, 0x00, 0x03, 0x00, 0x00, 0x00, 0x00, 0x00, 0x12, 0x0e, 0x00, 0x00, 0x00, 0x00, 0x00, 0x00, 0x00, 0x00, 0x00, 0x00, 0x00, 0x00, 0x06, 0x06, 0x00, 0x00, 0x00, 0x06, 0x01, 0x00, 0x00, 0x00, 0x00, 0x00, 0x01, 0x02, 0x04, 0x04, 0x02, 0x01, 0x00, 0x00, 0x04, 0x04, 0x07, 0x04, 0x04, 0x00, 0x07, 0x04, 0x04, 0x04, 0x04, 0x04, 0x00, 0x03, 0x04, 0x04, 0x04, 0x04, 0x03, 0x00, 0x00, 0x00, 0x00, 0x00, 0x07, 0x00, 0x00, 0x02, 0x04, 0x04, 0x04, 0x04, 0x03, 0x00, 0x03, 0x04, 0x04, 0x04, 0x04, 0x03, 0x00, 0x00, 0x00, 0x00, 0x07, 0x00, 0x00, 0x00, 0x03, 0x04, 0x04, 0x04, 0x04, 0x03, 0x00, 0x00, 0x04, 0x04, 0x04, 0x02, 0x01, 0x00, 0x00, 0x00, 0x03, 0x03, 0x00, 0x00, 0x00, 0x00, 0x00, 0x09, 0x07, 0x00, 0x00, 0x00, 0x00, 0x00, 0x00, 0x01, 0x02, 0x04, 0x00, 0x01, 0x01, 0x01, 0x01, 0x01, 0x01, 0x00, 0x04, 0x02, 0x01, 0x00, 0x00, 0x00, 0x00, 0x00, 0x00, 0x00, 0x06, 0x00, 0x00, 0x00, 0x01, 0x02, 0x04, 0x05, 0x05, 0x05, 0x00, 0x07, 0x00, 0x00, 0x00, 0x00, 0x07, 0x00, 0x07, 0x04, 0x04, 0x04, 0x04, 0x03, 0x00, 0x03, 0x04, 0x04, 0x04, 0x04, 0x03, 0x00, 0x07, 0x04, 0x04, 0x04, 0x02, 0x01, 0x00, 0x07, 0x04, 0x04, 0x04, 0x04, 0x04, 0x00, 0x07, 0x00, 0x00, 0x00, 0x00, 0x00, 0x00, 0x03, 0x04, 0x04, 0x04, 0x02, 0x07, 0x00, 0x07, 0x00, 0x00, 0x00, 0x00, 0x07, 0x00, 0x00, 0x04, 0x04, 0x07, 0x04, 0x04, 0x00, 0x03, 0x04, 0x04, 0x04, 0x03, 0x00, 0x00, 0x07, 0x00, 0x00, 0x01, 0x02, 0x04, 0x00, 0x07, 0x04, 0x04, 0x04, 0x04, 0x04, 0x00, 0x07, 0x00, 0x00, 0x00, 0x00, 0x07, 0x00, 0x07, 0x00, 0x00, 0x00, 0x03, 0x07, 0x00, 0x03, 0x04, 0x04, 0x04, 0x04, 0x03, 0x00, 0x07, 0x00, 0x00, 0x00, 0x00, 0x00, 0x00, 0x03, 0x06, 0x05, 0x05, 0x06, 0x0b, 0x08, 0x07, 0x00, 0x00, 0x00, 0x01, 0x06, 0x00, 0x03, 0x04, 0x04, 0x04, 0x04, 0x03, 0x00, 0x00, 0x00, 0x00, 0x07, 0x00, 0x00, 0x00, 0x03, 0x04, 0x04, 0x04, 0x04, 0x03, 0x00, 0x00, 0x00, 0x01, 0x06, 0x01, 0x00, 0x00, 0x07, 0x01, 0x00, 0x00, 0x01, 0x07, 0x00, 0x06, 0x01, 0x00, 0x00, 0x01, 0x06, 0x00, 0x00, 0x00, 0x00, 0x07, 0x00, 0x00, 0x00, 0x07, 0x04, 0x04, 0x04, 0x04, 0x04, 0x00, 0x00, 0x00, 0x00, 0x0f, 0x08, 0x08, 0x00, 0x00, 0x00, 0x00, 0x00, 0x01, 0x06, 0x00, 0x08, 0x08, 0x0f, 0x00, 0x00, 0x00, 0x00, 0x00, 0x00, 0x00, 0x00, 0x00, 0x00, 0x00, 0x08, 0x08, 0x08, 0x08, 0x08, 0x08, 0x08, 0x00, 0x00, 0x00, 0x00, 0x00, 0x00, 0x00, 0x03, 0x04, 0x04, 0x04, 0x02, 0x07, 0x00, 0x07, 0x02, 0x04, 0x04, 0x04, 0x03, 0x00, 0x03, 0x04, 0x04, 0x04, 0x04, 0x02, 0x00, 0x03, 0x04, 0x04, 0x04, 0x02, 0x07, 0x00, 0x03, 0x04, 0x04, 0x04, 0x04, 0x02, 0x00, 0x00, 0x00, 0x07, 0x00, 0x00, 0x00, 0x00, 0x0c, 0x13, 0x12, 0x12, 0x12, 0x0c, 0x00, 0x07, 0x00, 0x00, 0x00, 0x00, 0x07, 0x00, 0x00, 0x04, 0x04, 0x07, 0x04, 0x04, 0x00, 0x08, 0x10, 0x10, 0x08, 0x07, 0x00, 0x00, 0x07, 0x00, 0x00, 0x01, 0x02, 0x04, 0x00, 0x00, 0x04, 0x04, 0x07, 0x04, 0x04, 0x00, 0x07, 0x00, 0x00, 0x07, 0x00, 0x00, 0x07, 0x07, 0x00, 0x00, 0x00, 0x00, 0x07, 0x00, 0x03, 0x04, 0x04, 0x04, 0x04, 0x03, 0x00, 0x1f, 0x02, 0x04, 0x04, 0x04, 0x03, 0x00, 0x03, 0x04, 0x04, 0x04, 0x02, 0x1f, 0x00, 0x07, 0x00, 0x00, 0x00, 0x00, 0x00, 0x00, 0x02, 0x04, 0x04, 0x04, 0x04, 0x03, 0x00, 0x00, 0x00, 0x03, 0x04, 0x04, 0x00, 0x00, 0x03, 0x04, 0x04, 0x04, 0x02, 0x07, 0x00, 0x00, 0x01, 0x06, 0x06, 0x01, 0x00, 0x00, 0x03, 0x04, 0x04, 0x03, 0x04, 0x04, 0x03, 0x06, 0x01, 0x00, 0x00, 0x01, 0x06, 0x00, 0x00, 0x11, 0x12, 0x12, 0x11, 0x0f, 0x00, 0x06, 0x05, 0x04, 0x04, 0x04, 0x04, 0x00, 0x00, 0x00, 0x0c, 0x13, 0x10, 0x00, 0x00, 0x00, 0x00, 0x00, 0x1f, 0x00, 0x00, 0x00, 0x00, 0x10, 0x13, 0x0c, 0x00, 0x00, 0x00, 0x00, 0x00, 0x00, 0x00, 0x00, 0x00, 0x00};

// TODO: Pentatonic has unknown licensing, may need to be replaced
static const uint8_t pentatonic[] = {0x3c, 0xfe, 0xee, 0xc7, 0xc7, 0xe6, 0xfe, 0x3c, 0xc0, 0xf0, 0x7c, 0x1f, 0x87, 0x81, 0x80, 0x00, 0x00, 0x00, 0xc0, 0xc0, 0xc0, 0xc0, 0xc0, 0xc0, 0xc0, 0xc0, 0xc0, 0xf0, 0xf8, 0xfc, 0x1e, 0x0f, 0x07, 0x07, 0x07, 0x0f, 0x1e, 0xfc, 0xf8, 0xf0, 0x06, 0xfe, 0xfe, 0xfe, 0x18, 0x1c, 0x1e, 0x0f, 0x07, 0x07, 0x87, 0xce, 0xfe, 0xfc, 0x30, 0x08, 0x0c, 0x1e, 0x0e, 0xc7, 0xc7, 0xc7, 0xc7, 0xfe, 0xfe, 0x3c, 0x00, 0x00, 0xc0, 0xe0, 0xf0, 0x7c, 0x1e, 0xfe, 0xfe, 0xfe, 0x00, 0x00, 0x00, 0xfe, 0xfe, 0xfe, 0xc6, 0xc6, 0xc6, 0xc6, 0xc6, 0xc6, 0x86, 0x00, 0xe0, 0xf8, 0xfc, 0xde, 0xce, 0xc7, 0xc7, 0xc7, 0xce, 0xde, 0x9c, 0x18, 0x06, 0x06, 0x06, 0x06, 0x06, 0x06, 0xc6, 0xf6, 0xfe, 0x3e, 0x0e, 0x00, 0x7c, 0xfe, 0xfe, 0xc6, 0xc7, 0xc7, 0xc7, 0xce, 0xfe, 0xfe, 0x38, 0x70, 0xfc, 0xfe, 0xcf, 0x87, 0x87, 0x07, 0x87, 0x87, 0xfe, 0xfe, 0xf8, 0xff, 0xff, 0xff, 0xe0, 0x70, 0x70, 0x70, 0x70, 0xf0, 0xe0, 0x80, 0xf0, 0xf0, 0xe0, 0x70, 0x70, 0x70, 0x70, 0xf0, 0xe0, 0xe0, 0x70, 0x70, 0x70, 0x70, 0xf0, 0xe0, 0x80, 0x00, 0x00, 0x00, 0x00, 0x60, 0x78, 0x7e, 0x1f, 0x07, 0x0d, 0x3e, 0x7f, 0x63, 0x63, 0x63, 0x7f, 0x3e, 0x0c, 0x01, 0x01, 0x01, 0x01, 0x01, 0x01, 0x01, 0x01, 0x01, 0x0f, 0x1f, 0x3f, 0x78, 0x70, 0x60, 0x60, 0x60, 0x70, 0x78, 0x3f, 0x1f, 0x0f, 0x00, 0x7f, 0x7f, 0x7f, 0x78, 0x7c, 0x7e, 0x7e, 0x77, 0x77, 0x73, 0x71, 0x71, 0x70, 0x70, 0x18, 0x38, 0x78, 0x70, 0x61, 0x61, 0x61, 0x61, 0x73, 0x7f, 0x3f, 0x1e, 0x1f, 0x1f, 0x1d, 0x1c, 0x1c, 0x1c, 0x7f, 0x7f, 0x7f, 0x1c, 0x1c, 0x18, 0x38, 0x79, 0x70, 0x60, 0xe0, 0xe0, 0x60, 0x79, 0x7f, 0x3f, 0x06, 0x07, 0x3f, 0x7f, 0x71, 0x60, 0xe0, 0xe0, 0xe0, 0x71, 0x7b, 0x3f, 0x1f, 0x00, 0x00, 0x40, 0x70, 0x7c, 0x7f, 0x1f, 0x03, 0x00, 0x00, 0x00, 0x1e, 0x3f, 0x7f, 0x73, 0x61, 0xe1, 0xe1, 0xe1, 0x71, 0x7f, 0x3f, 0x1f, 0x00, 0x19, 0x39, 0x7b, 0x73, 0x63, 0x63, 0x73, 0x71, 0x3f, 0x1f, 0x0f, 0x7f, 0x7f, 0x7f, 0x00, 0x00, 0x00, 0x00, 0x00, 0x7f, 0x7f, 0x7f, 0x7f, 0x7f, 0x7f, 0x00, 0x00, 0x00, 0x00, 0x7f, 0x7f, 0x7f, 0x00, 0x00, 0x00, 0x00, 0x7f, 0x7f, 0x7f};
static const uint8_t pentatonic_point[] = {0x25, 0x2d, 0x30, 0x31, 0x32, 0x33, 0x34, 0x35, 0x36, 0x37, 0x38, 0x39, 0x68, 0x6d};
static const uint8_t pentatonic_width[] = {18, 9, 13, 4, 11, 11, 12, 12, 12, 11, 12, 12, 11, 17};

static const uint8_t battery[] = {0xfe, 0x02, 0x02, 0x02, 0x02, 0x02, 0x02, 0x02, 0x02, 0x02, 0x02, 0x02, 0x02, 0x02, 0x02, 0x02, 0x02, 0x02, 0x02, 0x02, 0x02, 0x02, 0x02, 0x02, 0x02, 0x02, 0x02, 0x02, 0x02, 0xfe, 0xf8, 0xf8, 0x07, 0x04, 0x04, 0x04, 0x04, 0x04, 0x04, 0x04, 0x04, 0x04, 0x04, 0x04, 0x04, 0x04, 0x04, 0x04, 0x04, 0x04, 0x04, 0x04, 0x04, 0x04, 0x04, 0x04, 0x04, 0x04, 0x04, 0x04, 0x04, 0x07, 0x01, 0x01, 0xfe, 0x02, 0xfa, 0xfa, 0xe2, 0x82, 0x02, 0x02, 0x02, 0x02, 0x02, 0x02, 0x02, 0x02, 0x02, 0x02, 0x02, 0x02, 0x02, 0x02, 0x02, 0x02, 0x02, 0x02, 0x02, 0x02, 0x02, 0x02, 0x02, 0xfe, 0xf8, 0xf8, 0x07, 0x04, 0x05, 0x05, 0x05, 0x05, 0x04, 0x04, 0x04, 0x04, 0x04, 0x04, 0x04, 0x04, 0x04, 0x04, 0x04, 0x04, 0x04, 0x04, 0x04, 0x04, 0x04, 0x04, 0x04, 0x04, 0x04, 0x04, 0x04, 0x07, 0x01, 0x01, 0xfe, 0x02, 0xfa, 0xfa, 0xe2, 0x9a, 0x7a, 0xfa, 0xfa, 0xfa, 0xe2, 0x82, 0x02, 0x02, 0x02, 0x02, 0x02, 0x02, 0x02, 0x02, 0x02, 0x02, 0x02, 0x02, 0x02, 0x02, 0x02, 0x02, 0x02, 0xfe, 0xf8, 0xf8, 0x07, 0x04, 0x05, 0x05, 0x05, 0x05, 0x04, 0x05, 0x05, 0x05, 0x05, 0x05, 0x04, 0x04, 0x04, 0x04, 0x04, 0x04, 0x04, 0x04, 0x04, 0x04, 0x04, 0x04, 0x04, 0x04, 0x04, 0x04, 0x04, 0x07, 0x01, 0x01, 0xfe, 0x02, 0xfa, 0xfa, 0xe2, 0x9a, 0x7a, 0xfa, 0xfa, 0xfa, 0xe2, 0x9a, 0x7a, 0xfa, 0xfa, 0xfa, 0xfa, 0xfa, 0xfa, 0xfa, 0xfa, 0xfa, 0xfa, 0xfa, 0xfa, 0xfa, 0xfa, 0xfa, 0x02, 0xfe, 0xf8, 0xf8, 0x07, 0x04, 0x05, 0x05, 0x05, 0x05, 0x04, 0x05, 0x05, 0x05, 0x05, 0x05, 0x04, 0x05, 0x05, 0x05, 0x05, 0x05, 0x05, 0x05, 0x05, 0x05, 0x05, 0x05, 0x05, 0x05, 0x05, 0x05, 0x04, 0x07, 0x01, 0x01};
```

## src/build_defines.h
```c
/*
	SlimeVR Code is placed under the MIT license
	Copyright (c) 2025 SlimeVR Contributors

	Permission is hereby granted, free of charge, to any person obtaining a copy
	of this software and associated documentation files (the "Software"), to deal
	in the Software without restriction, including without limitation the rights
	to use, copy, modify, merge, publish, distribute, sublicense, and/or sell
	copies of the Software, and to permit persons to whom the Software is
	furnished to do so, subject to the following conditions:

	The above copyright notice and this permission notice shall be included in
	all copies or substantial portions of the Software.

	THE SOFTWARE IS PROVIDED "AS IS", WITHOUT WARRANTY OF ANY KIND, EXPRESS OR
	IMPLIED, INCLUDING BUT NOT LIMITED TO THE WARRANTIES OF MERCHANTABILITY,
	FITNESS FOR A PARTICULAR PURPOSE AND NONINFRINGEMENT. IN NO EVENT SHALL THE
	AUTHORS OR COPYRIGHT HOLDERS BE LIABLE FOR ANY CLAIM, DAMAGES OR OTHER
	LIABILITY, WHETHER IN AN ACTION OF CONTRACT, TORT OR OTHERWISE, ARISING FROM,
	OUT OF OR IN CONNECTION WITH THE SOFTWARE OR THE USE OR OTHER DEALINGS IN
	THE SOFTWARE.
*/
#include "sensor/sensors_enum.h"
#include "system/status.h"

#include "app_version.h"

#ifdef CONFIG_NCS_APPLICATION_BOOT_BANNER_STRING
#define FW_NAME CONFIG_NCS_APPLICATION_BOOT_BANNER_STRING
#else
#define FW_NAME "SlimeNRF Tracker"
#endif
#define FW_VERSION_MAJOR APP_VERSION_MAJOR
#define FW_VERSION_MINOR APP_VERSION_MINOR
#define FW_VERSION_PATCH APP_PATCHLEVEL

static uint8_t get_server_constant_imu_id(int id) __unused;
static uint8_t get_server_constant_mag_id(int id) __unused;
static uint8_t get_server_constant_tracker_status(int status) __unused;

// constants from server, should include BoardType, MCUType, IMUType, MagType (not yet)
// https://github.com/SlimeVR/SlimeVR-Server/blob/main/server/core/src/main/java/dev/slimevr/tracking/trackers/udp/FirmwareConstants.kt
#define SVR_IMU_UNKNOWN 0
#define SVR_IMU_MPU9250 1
#define SVR_IMU_MPU6500 2
#define SVR_IMU_BNO080 3
#define SVR_IMU_BNO085 4
#define SVR_IMU_BNO055 5
#define SVR_IMU_MPU6050 6
#define SVR_IMU_BNO086 7
#define SVR_IMU_BMI160 8
#define SVR_IMU_ICM20948 9
#define SVR_IMU_ICM42688 10
#define SVR_IMU_BMI270 11
#define SVR_IMU_LSM6DS3TRC 12
#define SVR_IMU_LSM6DSV 13
#define SVR_IMU_LSM6DSO 14
#define SVR_IMU_LSM6DSR 15
#define SVR_IMU_ICM45686 16
#define SVR_IMU_ICM45605 17
#define SVR_IMU_ADC_RESISTANCE 18
#define SVR_IMU_ISM330BX 20
#define SVR_IMU_DEV_RESERVED 250

#define SVR_BOARD_UNKNOWN 0
#define SVR_BOARD_SLIMEVR_LEGACY 1
#define SVR_BOARD_SLIMEVR_DEV 2
#define SVR_BOARD_NODEMCU 3
#define SVR_BOARD_CUSTOM 4
#define SVR_BOARD_WROOM32 5
#define SVR_BOARD_WEMOSD1MINI 6
#define SVR_BOARD_TTGO_TBASE 7
#define SVR_BOARD_ESP01 8
#define SVR_BOARD_SLIMEVR 9
#define SVR_BOARD_LOLIN_C3_MINI 10
#define SVR_BOARD_BEETLE32C32 11
#define SVR_BOARD_ES32C3DEVKITM1 12
#define SVR_BOARD_OWOTRACK 13
#define SVR_BOARD_WRANGLER 14
#define SVR_BOARD_MOCOPI 15
#define SVR_BOARD_WEMOSWROOM02 16
#define SVR_BOARD_XIAO_ESP32C3 17
#define SVR_BOARD_HARITORA 18
#define SVR_BOARD_ESP32C6DEVKITC1 19
#define SVR_BOARD_GLOVE_IMU_SLIMEVR_DEV 20
#define SVR_BOARD_GESTURES 21
#define SVR_BOARD_SLIMEVR_V1_2 22
#define SVR_BOARD_ESP32S3_SUPERMINI 23
#define SVR_BOARD_GENERIC_NRF 24
#define SVR_BOARD_SLIMEVR_BUTTERFLY_DEV 25
#define SVR_BOARD_SLIMEVR_BUTTERFLY 26
#define SVR_BOARD_DEV_RESERVED 250

#define SVR_MCU_UNKNOWN 0
#define SVR_MCU_ESP8266 1
#define SVR_MCU_ESP32 2
#define SVR_MCU_OWOTRACK_ANDROID 3
#define SVR_MCU_WRANGLER 4
#define SVR_MCU_OWOTRACK_IOS 5
#define SVR_MCU_ESP32_C3 6
#define SVR_MCU_MOCOPI 7
#define SVR_MCU_HARITORA 8
#define SVR_MCU_NRF52 9
#define SVR_MCU_NRF54L 10
#define SVR_MCU_DEV_RESERVED 250

#define SVR_MAG_STATUS_NOT_SUPPORTED 0
#define SVR_MAG_STATUS_DISABLED 1
#define SVR_MAG_STATUS_ENABLED 2

// https://github.com/SlimeVR/SlimeVR-Server/blob/main/server/core/src/main/java/dev/slimevr/tracking/trackers/TrackerStatus.kt
#define SVR_STATUS_DISCONNECTED 0
#define SVR_STATUS_OK 1
#define SVR_STATUS_BUSY 2
#define SVR_STATUS_ERROR 3
#define SVR_STATUS_OCCLUDED 4
#define SVR_STATUS_TIMED_OUT 5

#if CONFIG_BOARD_SLIMEVRMINI_P1_UF2 || CONFIG_BOARD_SLIMEVRMINI_P2_UF2 || CONFIG_BOARD_SLIMEVRMINI_P3R6_UF2 || CONFIG_BOARD_SLIMEVRMINI_P3R7_UF2 || CONFIG_BOARD_SLIMEVRMINI_P4_UF2 || CONFIG_BOARD_SLIMEVRMINI_P4R9_UF2 || CONFIG_BOARD_SLIMEVRMINI_P4R11_UF2
#define FW_BOARD SVR_BOARD_SLIMEVR_BUTTERFLY_DEV
#elif CONFIG_BOARD_BUTTERFLY_R15_UF2
#define FW_BOARD SVR_BOARD_SLIMEVR_BUTTERFLY
#else
#define FW_BOARD SVR_BOARD_GENERIC_NRF
#endif

#if CONFIG_SOC_SERIES_NRF52X
#define FW_MCU SVR_MCU_NRF52
#elif CONFIG_SOC_SERIES_NRF54LX
#define FW_MCU SVR_MCU_NRF54L
#else
#define FW_MCU 0
#endif

static uint8_t get_server_constant_imu_id(int id)
{
	switch (id)
	{
	case IMU_BMI160:
		return SVR_IMU_BMI160;
	case IMU_BMI270:
		return SVR_IMU_BMI270;
	case IMU_BMI323:
		return 0;
	case IMU_MPU6050:
		return SVR_IMU_MPU6050;
	case IMU_MPU6500:
		return SVR_IMU_MPU6500;
	case IMU_MPU9250:
		return SVR_IMU_MPU9250;
	case IMU_ICM20948:
		return SVR_IMU_ICM20948;
	case IMU_ICM42688:
		return SVR_IMU_ICM42688;
	case IMU_ICM45686:
		return SVR_IMU_ICM45686;
	case IMU_ICM45688:
		return SVR_IMU_ICM45686; // compatible with driver, but not really
	case IMU_ISM330IS:
		return 0;
	case IMU_LSM6DS3:
		return 0;
	case IMU_LSM6DSM:
		return SVR_IMU_LSM6DS3TRC;
	case IMU_LSM6DSR:
		return SVR_IMU_LSM6DSR;
	case IMU_LSM6DSO:
		return SVR_IMU_LSM6DSO;
	case IMU_LSM6DST:
		return 0;
	case IMU_LSM6DSV:
		return SVR_IMU_LSM6DSV;
	case IMU_ISM330BX:
		return SVR_IMU_ISM330BX;
	default:
		return SVR_IMU_UNKNOWN;
	}
}

// does not exist in server enums yet
static uint8_t get_server_constant_mag_id(int id)
{
	return SVR_MAG_STATUS_NOT_SUPPORTED;
//	switch (id)
//	{
//	case MAG_HMC5883L:
//		return 0;
//	case MAG_QMC5883L:
//		return 0;
//	case MAG_AK8963:
//		return 0;
//	case MAG_AK09916:
//		return 0;
//	case MAG_AK09940:
//		return 0;
//	case MAG_BMM150:
//		return 0;
//	case MAG_BMM350:
//		return 0;
//	case MAG_IST8306:
//		return 0;
//	case MAG_IST8308:
//		return 0;
//	case MAG_IST8320:
//		return 0;
//	case MAG_IST8321:
//		return 0;
//	case MAG_LIS2MDL:
//		return 0;
//	case MAG_LIS3MDL:
//		return 0;
//	case MAG_MMC34160PJ:
//		return 0;
//	case MAG_MMC3630KJ:
//		return 0;
//	case MAG_MMC5633NJL:
//		return 0;
//	case MAG_MMC5616WA:
//		return 0;
//	case MAG_MMC5983MA:
//		return 0;
//	default:
//		return 0;
//	}
}

static uint8_t get_server_constant_tracker_status(int status)
{
	if (status & (SYS_STATUS_SENSOR_ERROR | SYS_STATUS_SYSTEM_ERROR))
		return SVR_STATUS_ERROR;
	else
		return SVR_STATUS_OK;
}

// https://stackoverflow.com/questions/11697820/how-to-use-date-and-time-predefined-macros-in-as-two-integers-then-stri
#define COMPUTE_BUILD_YEAR \
	( \
		(__DATE__[ 7] - '0') * 1000 + \
		(__DATE__[ 8] - '0') *  100 + \
		(__DATE__[ 9] - '0') *   10 + \
		(__DATE__[10] - '0') \
	)

#define COMPUTE_BUILD_DAY \
	( \
		((__DATE__[4] >= '0') ? (__DATE__[4] - '0') * 10 : 0) + \
		(__DATE__[5] - '0') \
	)

#define BUILD_MONTH_IS_JAN (__DATE__[0] == 'J' && __DATE__[1] == 'a' && __DATE__[2] == 'n')
#define BUILD_MONTH_IS_FEB (__DATE__[0] == 'F')
#define BUILD_MONTH_IS_MAR (__DATE__[0] == 'M' && __DATE__[1] == 'a' && __DATE__[2] == 'r')
#define BUILD_MONTH_IS_APR (__DATE__[0] == 'A' && __DATE__[1] == 'p')
#define BUILD_MONTH_IS_MAY (__DATE__[0] == 'M' && __DATE__[1] == 'a' && __DATE__[2] == 'y')
#define BUILD_MONTH_IS_JUN (__DATE__[0] == 'J' && __DATE__[1] == 'u' && __DATE__[2] == 'n')
#define BUILD_MONTH_IS_JUL (__DATE__[0] == 'J' && __DATE__[1] == 'u' && __DATE__[2] == 'l')
#define BUILD_MONTH_IS_AUG (__DATE__[0] == 'A' && __DATE__[1] == 'u')
#define BUILD_MONTH_IS_SEP (__DATE__[0] == 'S')
#define BUILD_MONTH_IS_OCT (__DATE__[0] == 'O')
#define BUILD_MONTH_IS_NOV (__DATE__[0] == 'N')
#define BUILD_MONTH_IS_DEC (__DATE__[0] == 'D')

#define COMPUTE_BUILD_MONTH \
	( \
		(BUILD_MONTH_IS_JAN) ?  1 : \
		(BUILD_MONTH_IS_FEB) ?  2 : \
		(BUILD_MONTH_IS_MAR) ?  3 : \
		(BUILD_MONTH_IS_APR) ?  4 : \
		(BUILD_MONTH_IS_MAY) ?  5 : \
		(BUILD_MONTH_IS_JUN) ?  6 : \
		(BUILD_MONTH_IS_JUL) ?  7 : \
		(BUILD_MONTH_IS_AUG) ?  8 : \
		(BUILD_MONTH_IS_SEP) ?  9 : \
		(BUILD_MONTH_IS_OCT) ? 10 : \
		(BUILD_MONTH_IS_NOV) ? 11 : \
		(BUILD_MONTH_IS_DEC) ? 12 : \
		/* error default */  99 \
	)

#define COMPUTE_BUILD_HOUR ((__TIME__[0] - '0') * 10 + __TIME__[1] - '0')
#define COMPUTE_BUILD_MIN  ((__TIME__[3] - '0') * 10 + __TIME__[4] - '0')
#define COMPUTE_BUILD_SEC  ((__TIME__[6] - '0') * 10 + __TIME__[7] - '0')

#define BUILD_DATE_IS_BAD (__DATE__[0] == '?')

#define BUILD_YEAR  ((BUILD_DATE_IS_BAD) ? 99 : COMPUTE_BUILD_YEAR)
#define BUILD_MONTH ((BUILD_DATE_IS_BAD) ? 99 : COMPUTE_BUILD_MONTH)
#define BUILD_DAY   ((BUILD_DATE_IS_BAD) ? 99 : COMPUTE_BUILD_DAY)

#define BUILD_TIME_IS_BAD (__TIME__[0] == '?')

#define BUILD_HOUR  ((BUILD_TIME_IS_BAD) ? 99 :  COMPUTE_BUILD_HOUR)
#define BUILD_MIN   ((BUILD_TIME_IS_BAD) ? 99 :  COMPUTE_BUILD_MIN)
#define BUILD_SEC   ((BUILD_TIME_IS_BAD) ? 99 :  COMPUTE_BUILD_SEC)

#define BUILD_TIMESTAMP (((((((BUILD_YEAR - 2020) & 127) * 12 + (BUILD_MONTH & 15)) * 31 + (BUILD_DAY & 31)) * 24 + (BUILD_HOUR & 24)) * 60 + (BUILD_MIN & 60)) * 60 + (BUILD_SEC & 60))

#define TOSTRING(x) STRINGIFY(x)

#define FW_STRING FW_NAME " " APP_VERSION_EXTENDED_STRING "\n"
```

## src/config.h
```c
#ifndef SLIMENRF_CONFIG
#define SLIMENRF_CONFIG

#include "retained.h"

#define CONFIG_SETTINGS_COUNT 4

// map of settings area
struct config_settings_data {
	uint16_t config_0_ovrd; // Override enable flags
	uint16_t config_0_settings;
	uint16_t config_1_ovrd;
	uint16_t config_1_settings;
	uint16_t config_2_ovrd;
	int16_t config_2_settings[16];
	uint16_t config_3_ovrd;
	int32_t config_3_settings[16];
};

// because settings read is a macro, need to expose settings struct
extern struct config_settings_data *config_settings;

// device settings
enum config_0_settings_id {
	CONFIG_0_USER_EXTRA_ACTIONS,
	CONFIG_0_IGNORE_RESET,
	CONFIG_0_USER_SHUTDOWN,
	CONFIG_0_USE_IMU_WAKE_UP,
	CONFIG_0_DELAY_SLEEP_ON_STATUS,
	CONFIG_0_CONNECTION_OVER_HID,
	CONFIG_0_SETTINGS_END
};

// sensor settings
enum config_1_settings_id {
	CONFIG_1_SENSOR_USE_LOW_POWER_2,
	CONFIG_1_USE_IMU_TIMEOUT,
	CONFIG_1_USE_ACTIVE_TIMEOUT,
	CONFIG_1_SENSOR_USE_MAG,
	CONFIG_1_USE_SENSOR_CLOCK,
	CONFIG_1_SENSOR_USE_6_SIDE_CALIBRATION,
	CONFIG_1_SETTINGS_END
};

enum config_2_settings_id {
	CONFIG_2_LED_DEFAULT_COLOR_R,
	CONFIG_2_LED_DEFAULT_COLOR_G,
	CONFIG_2_LED_DEFAULT_COLOR_B,
	CONFIG_2_ACTIVE_TIMEOUT_MODE, // 0: Sleep, 1: Shutdown
	CONFIG_2_SENSOR_ACCEL_ODR,
	CONFIG_2_SENSOR_GYRO_ODR,
	CONFIG_2_SENSOR_ACCEL_FS,
	CONFIG_2_SENSOR_GYRO_FS,
	CONFIG_2_SENSOR_FUSION, // 1: XIO, 3: VQF
	CONFIG_2_RADIO_TX_POWER,
	CONFIG_2_ESB_CHANNEL,
	CONFIG_2_SETTINGS_END
};

enum config_3_settings_id {
	CONFIG_3_CONNECTION_TIMEOUT_DELAY,
	CONFIG_3_SENSOR_LP_TIMEOUT,
	CONFIG_3_IMU_TIMEOUT_RAMP_MIN,
	CONFIG_3_IMU_TIMEOUT_RAMP_MAX,
	CONFIG_3_ACTIVE_TIMEOUT_THRESHOLD,
	CONFIG_3_ACTIVE_TIMEOUT_DELAY,
	CONFIG_3_BATTERY_LOW_RUNTIME_THRESHOLD,
	CONFIG_3_SETTINGS_END
};

extern const uint16_t config_settings_count[];

extern const char *config_settings_names[];

#define CONFIG_0_SETTINGS_READ(id) (config_settings->config_0_settings & (1 << id))
#define CONFIG_1_SETTINGS_READ(id) (config_settings->config_1_settings & (1 << id))
#define CONFIG_2_SETTINGS_READ(id) (config_settings->config_2_settings[id])
#define CONFIG_3_SETTINGS_READ(id) (config_settings->config_3_settings[id])

void config_settings_init(void);

void config_0_settings_write(uint16_t id, bool value);
void config_1_settings_write(uint16_t id, bool value);
void config_2_settings_write(uint16_t id, int16_t value);
void config_3_settings_write(uint16_t id, int32_t value);

void config_settings_reset(uint16_t config, uint16_t id);
void config_settings_reset_all(void);

#endif
```
